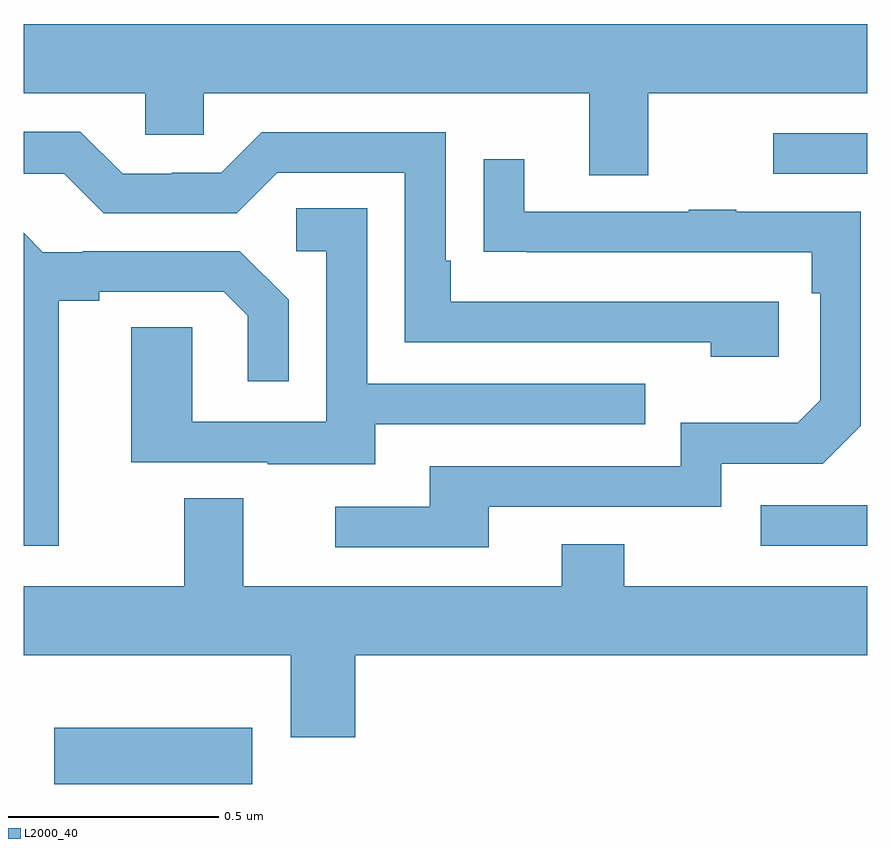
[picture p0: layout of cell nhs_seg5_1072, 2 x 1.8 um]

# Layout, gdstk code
import gdstk
lib = gdstk.Library(unit=1e-6, precision=1e-09)
def R(c, l, rs):  # rectangles x0, y0, x1, y1
    for r in rs: c.add(gdstk.rectangle(r[:2], r[2:], *l))
def P(c, l, *ps):  # polygons
    for p in ps: c.add(gdstk.Polygon(p, *l))
L2000_40 = (2000, 40)

nhs_seg5_1072 = lib.new_cell('nhs_seg5_1072')
R(nhs_seg5_1072, L2000_40, [(125.073,845.799,125.542,845.932), (126.747,846.363,127,846.459), (126.777,847.245,127,847.341)])
P(nhs_seg5_1072, L2000_40, [(126.481,847.436),(127,847.436),(127,847.6),(125,847.6),(125,847.436),(125.289,847.436),(125.289,847.338),(125.427,847.338),(125.427,847.436),(126.341,847.436),(126.341,847.242),(126.481,847.242)],
  [(126.79,846.942),(126.013,846.942),(126.013,847.039),(126,847.039),(126,847.344),(125.565,847.344),(125.469,847.248),(125.351,847.248),(125.351,847.245),(125.235,847.245),(125.135,847.345),(125,847.345),(125,847.245),(125.097,847.245),(125.19,847.152),(125.505,847.152),(125.601,847.248),(125.904,847.248),(125.904,846.846),(126.629,846.846),(126.629,846.812),(126.79,846.812)],
  [(126.103,846.456),(126.654,846.456),(126.654,846.558),(126.894,846.558),(126.984,846.648),(126.984,847.155),(126.689,847.155),(126.689,847.16),(126.577,847.16),(126.577,847.155),(126.187,847.155),(126.187,847.279),(126.091,847.279),(126.091,847.06),(126.193,847.06),(126.193,847.059),(126.868,847.059),(126.868,846.962),(126.888,846.962),(126.888,846.708),(126.835,846.655),(126.558,846.655),(126.558,846.552),(125.963,846.552),(125.963,846.456),(125.739,846.456),(125.739,846.36),(126.103,846.36)],
  [(125.833,846.651),(126.473,846.651),(126.473,846.747),(125.814,846.747),(125.814,847.163),(125.646,847.163),(125.646,847.062),(125.718,847.062),(125.718,846.657),(125.4,846.657),(125.4,846.881),(125.255,846.881),(125.255,846.561),(125.579,846.561),(125.579,846.557),(125.833,846.557)],
  [(125.083,846.944),(125.179,846.944),(125.179,846.966),(125.474,846.966),(125.531,846.909),(125.531,846.753),(125.628,846.753),(125.628,846.946),(125.512,847.062),(125.14,847.062),(125.14,847.059),(125.046,847.059),(125,847.105),(125,846.363),(125.083,846.363)],
  [(125.786,846.104),(127,846.104),(127,846.268),(126.423,846.268),(126.423,846.367),(126.275,846.367),(126.275,846.268),(125.521,846.268),(125.521,846.476),(125.381,846.476),(125.381,846.268),(125,846.268),(125,846.104),(125.633,846.104),(125.633,845.91),(125.786,845.91)])

lib.write_gds('nhs_seg5_1072.gds')
